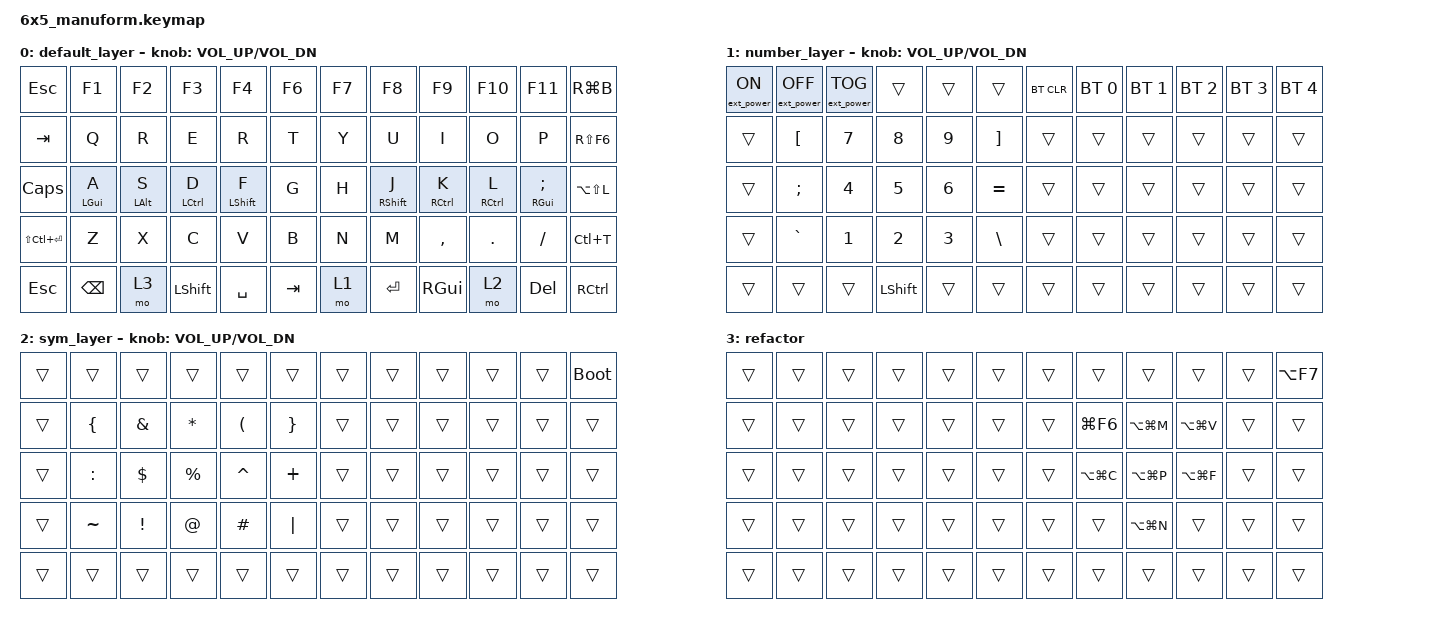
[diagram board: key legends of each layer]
/*
 * Copyright (c) 2020 The ZMK Contributors
 *
 * SPDX-License-Identifier: MIT
 */

#include <behaviors.dtsi>
#include <dt-bindings/zmk/keys.h>
#include <dt-bindings/zmk/ext_power.h>
#include <dt-bindings/zmk/bt.h>

/ {
    keymap {
        compatible = "zmk,keymap";

        default_layer {
            // ------------------------------------------------------------------------------------------------------------
            // |  ESC   |  1  |  2  |  3   |  4   |  5   |                    |  6   |  7    |  8    |  9   |   0   |   `   |
            // |  TAB   |  Q  |  W  |  E   |  R   |  T   |                    |  Y   |  U    |  I    |  O   |   P   |   -   |
            // |  CTRL  |  A  |  S  |  D   |  F   |  G   |                    |  H   |  J    |  K    |  L   |   ;   |   '   |
            // | SHIFT  |  Z  |  X  |  C   |  V   |  B   |                    |  N   |  M    |  ,    |  .   |   /   | SHIFT |
            // |    2   |  2  | f   | 6    | 4    | 1    |                    | 2    | 1     | w     | s    | n     |  a    |

            bindings = <
          &kp ESC          &kp F1          &kp F2       &kp F3            &kp F4   &kp F6  &kp F7             &kp F8       &kp F9      &kp F10             &kp F11      &kp RG(B)
          &kp TAB           &kp Q           &kp R        &kp E             &kp R    &kp T   &kp Y              &kp U        &kp I        &kp O               &kp P     &kp RS(F6)
         &kp CAPS  &mt LEFT_GUI A  &mt LEFT_ALT S  &mt LCTRL D  &mt LEFT_SHIFT F    &kp G   &kp H  &mt RIGHT_SHIFT J  &mt RCTRL K  &mt RCTRL L  &mt RIGHT_GUI SEMI  &kp LA(LS(L))
&kp LS(LC(ENTER))           &kp Z           &kp X        &kp C             &kp V    &kp B   &kp N              &kp M    &kp COMMA      &kp DOT            &kp FSLH      &kp LC(T)
          &kp ESC        &kp BSPC           &mo 3    &kp LSHFT         &kp SPACE  &kp TAB   &mo 1            &kp RET     &kp RGUI        &mo 2             &kp DEL      &kp RCTRL
            >;

            sensor-bindings = <&inc_dec_kp C_VOL_UP C_VOL_DN>;
        };

        number_layer {
            // ------------------------------------------------------------------------------------------------------------
            // | BTCLR | BT1 | BT2 |  BT3 |  BT4 |  BT5 |                   |      |       |       |      |       |       |
            // |  F1   |  F2 |  F3 |  F4  |  F5  |  F6  |                   |  F7  |  F8   |  F9   |  F10 |  F11  |  F12  |
            // |   `   |  !  |  @  |  #   |  $   |  %   |                   |  ^   |  &    |  *    |  (   |   )   |   ~   |
            // |       |     |     |      |      |      |                   |      |  _    |  +    |  {   |   }   |  "|"  |
            // |       |     |     |      |      |      |                   |      |       |       |      |       |       |

            bindings = <
&ext_power EP_ON  &ext_power EP_OFF  &ext_power EP_TOG          &trans  &trans             &trans  &bt BT_CLR  &bt BT_SEL 0  &bt BT_SEL 1  &bt BT_SEL 2  &bt BT_SEL 3  &bt BT_SEL 4
          &trans   &kp LEFT_BRACKET             &kp N7          &kp N8  &kp N9  &kp RIGHT_BRACKET      &trans        &trans        &trans        &trans        &trans        &trans
          &trans           &kp SEMI             &kp N4          &kp N5  &kp N6          &kp EQUAL      &trans        &trans        &trans        &trans        &trans        &trans
          &trans          &kp GRAVE             &kp N1          &kp N2  &kp N3      &kp BACKSLASH      &trans        &trans        &trans        &trans        &trans        &trans
          &trans             &trans             &trans  &kp LEFT_SHIFT  &trans             &trans      &trans        &trans        &trans        &trans        &trans        &trans
            >;

            sensor-bindings = <&inc_dec_kp C_VOL_UP C_VOL_DN>;
        };

        sym_layer {
            // ------------------------------------------------------------------------------------------------------------
            // |       |     |     |      |      |      |                   |      |       |       |      |       |       |
            // |   `   |  1  |  2  |  3   |  4   |  5   |                   |  6   |   7   |   8   |  9   |   0   |       |
            // |   F1  |  F2 |  F3 |  F4  |  F5  |  F6  |                   |      |   <-  |   v   |  ^   |  ->   |       |
            // |   F7  |  F8 |  F9 |  F10 |  F11 |  F12 |		             |  +   |   -   |   =   |  [   |   ]   |   \   |
            // |     |     |      |      |      |        |                   |       |      |       |       |      |       |

            bindings = <
&trans          &trans      &trans       &trans                &trans           &trans  &trans  &trans  &trans  &trans  &trans  &bootloader
&trans  &kp LEFT_BRACE    &kp AMPS     &kp STAR  &kp LEFT_PARENTHESIS  &kp RIGHT_BRACE  &trans  &trans  &trans  &trans  &trans       &trans
&trans       &kp COLON  &kp DOLLAR  &kp PERCENT             &kp CARET         &kp PLUS  &trans  &trans  &trans  &trans  &trans       &trans
&trans       &kp TILDE    &kp EXCL       &kp AT             &kp POUND         &kp PIPE  &trans  &trans  &trans  &trans  &trans       &trans
&trans          &trans      &trans       &trans                &trans           &trans  &trans  &trans  &trans  &trans  &trans       &trans
            >;

            sensor-bindings = <&inc_dec_kp C_VOL_UP C_VOL_DN>;
        };

        refactor {
            bindings = <
&trans  &trans  &trans  &trans  &trans  &trans  &trans         &trans         &trans         &trans  &trans  &kp LA(F7)
&trans  &trans  &trans  &trans  &trans  &trans  &trans     &kp LG(F6)  &kp LA(LG(M))  &kp LA(LG(V))  &trans      &trans
&trans  &trans  &trans  &trans  &trans  &trans  &trans  &kp LA(LG(C))  &kp LA(LG(P))  &kp LA(LG(F))  &trans      &trans
&trans  &trans  &trans  &trans  &trans  &trans  &trans         &trans  &kp LA(LG(N))         &trans  &trans      &trans
&trans  &trans  &trans  &trans  &trans  &trans  &trans         &trans         &trans         &trans  &trans      &trans
            >;
        };
    };
};
